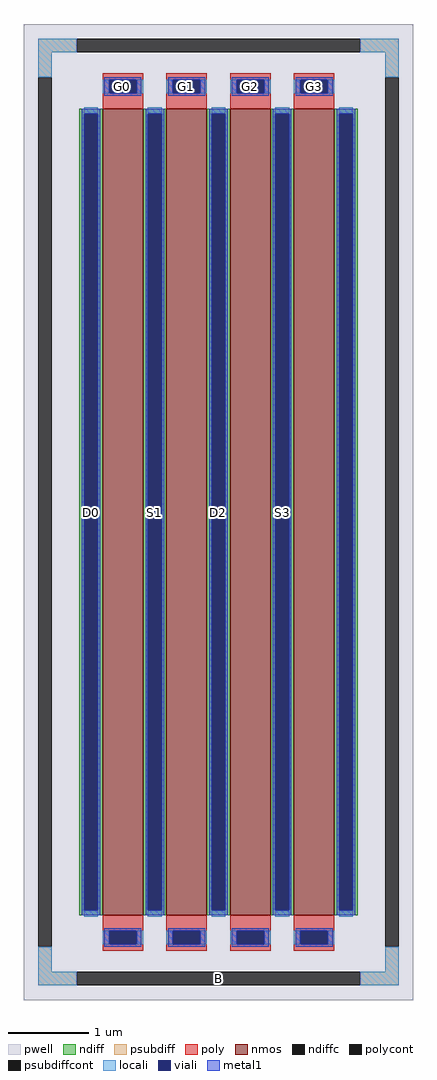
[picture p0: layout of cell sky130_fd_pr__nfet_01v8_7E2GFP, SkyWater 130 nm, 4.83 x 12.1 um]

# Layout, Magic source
magic
tech sky130A
magscale 1 2
<< pwell >>
rect -483 -1210 483 1210
<< nmos >>
rect -287 -1000 -187 1000
rect -129 -1000 -29 1000
rect 29 -1000 129 1000
rect 187 -1000 287 1000
<< ndiff >>
rect -345 988 -287 1000
rect -345 -988 -333 988
rect -299 -988 -287 988
rect -345 -1000 -287 -988
rect -187 988 -129 1000
rect -187 -988 -175 988
rect -141 -988 -129 988
rect -187 -1000 -129 -988
rect -29 988 29 1000
rect -29 -988 -17 988
rect 17 -988 29 988
rect -29 -1000 29 -988
rect 129 988 187 1000
rect 129 -988 141 988
rect 175 -988 187 988
rect 129 -1000 187 -988
rect 287 988 345 1000
rect 287 -988 299 988
rect 333 -988 345 988
rect 287 -1000 345 -988
<< ndiffc >>
rect -333 -988 -299 988
rect -175 -988 -141 988
rect -17 -988 17 988
rect 141 -988 175 988
rect 299 -988 333 988
<< psubdiff >>
rect -447 1140 -351 1174
rect 351 1140 447 1174
rect -447 1078 -413 1140
rect 413 1078 447 1140
rect -447 -1140 -413 -1078
rect 413 -1140 447 -1078
rect -447 -1174 -351 -1140
rect 351 -1174 447 -1140
<< psubdiffcont >>
rect -351 1140 351 1174
rect -447 -1078 -413 1078
rect 413 -1078 447 1078
rect -351 -1174 351 -1140
<< poly >>
rect -287 1072 -187 1088
rect -287 1038 -271 1072
rect -203 1038 -187 1072
rect -287 1000 -187 1038
rect -129 1072 -29 1088
rect -129 1038 -113 1072
rect -45 1038 -29 1072
rect -129 1000 -29 1038
rect 29 1072 129 1088
rect 29 1038 45 1072
rect 113 1038 129 1072
rect 29 1000 129 1038
rect 187 1072 287 1088
rect 187 1038 203 1072
rect 271 1038 287 1072
rect 187 1000 287 1038
rect -287 -1038 -187 -1000
rect -287 -1072 -271 -1038
rect -203 -1072 -187 -1038
rect -287 -1088 -187 -1072
rect -129 -1038 -29 -1000
rect -129 -1072 -113 -1038
rect -45 -1072 -29 -1038
rect -129 -1088 -29 -1072
rect 29 -1038 129 -1000
rect 29 -1072 45 -1038
rect 113 -1072 129 -1038
rect 29 -1088 129 -1072
rect 187 -1038 287 -1000
rect 187 -1072 203 -1038
rect 271 -1072 287 -1038
rect 187 -1088 287 -1072
<< polycont >>
rect -271 1038 -203 1072
rect -113 1038 -45 1072
rect 45 1038 113 1072
rect 203 1038 271 1072
rect -271 -1072 -203 -1038
rect -113 -1072 -45 -1038
rect 45 -1072 113 -1038
rect 203 -1072 271 -1038
<< locali >>
rect -447 1140 -351 1174
rect 351 1140 447 1174
rect -447 1078 -413 1140
rect 413 1078 447 1140
rect -287 1038 -271 1072
rect -203 1038 -187 1072
rect -129 1038 -113 1072
rect -45 1038 -29 1072
rect 29 1038 45 1072
rect 113 1038 129 1072
rect 187 1038 203 1072
rect 271 1038 287 1072
rect -333 988 -299 1004
rect -333 -1004 -299 -988
rect -175 988 -141 1004
rect -175 -1004 -141 -988
rect -17 988 17 1004
rect -17 -1004 17 -988
rect 141 988 175 1004
rect 141 -1004 175 -988
rect 299 988 333 1004
rect 299 -1004 333 -988
rect -287 -1072 -271 -1038
rect -203 -1072 -187 -1038
rect -129 -1072 -113 -1038
rect -45 -1072 -29 -1038
rect 29 -1072 45 -1038
rect 113 -1072 129 -1038
rect 187 -1072 203 -1038
rect 271 -1072 287 -1038
rect -447 -1140 -413 -1078
rect 413 -1140 447 -1078
rect -447 -1174 -351 -1140
rect 351 -1174 447 -1140
<< viali >>
rect -271 1038 -203 1072
rect -113 1038 -45 1072
rect 45 1038 113 1072
rect 203 1038 271 1072
rect -333 -988 -299 988
rect -175 -988 -141 988
rect -17 -988 17 988
rect 141 -988 175 988
rect 299 -988 333 988
rect -271 -1072 -203 -1038
rect -113 -1072 -45 -1038
rect 45 -1072 113 -1038
rect 203 -1072 271 -1038
<< metal1 >>
rect -283 1072 -191 1078
rect -283 1038 -271 1072
rect -203 1038 -191 1072
rect -283 1032 -191 1038
rect -125 1072 -33 1078
rect -125 1038 -113 1072
rect -45 1038 -33 1072
rect -125 1032 -33 1038
rect 33 1072 125 1078
rect 33 1038 45 1072
rect 113 1038 125 1072
rect 33 1032 125 1038
rect 191 1072 283 1078
rect 191 1038 203 1072
rect 271 1038 283 1072
rect 191 1032 283 1038
rect -339 988 -293 1000
rect -339 -988 -333 988
rect -299 -988 -293 988
rect -339 -1000 -293 -988
rect -181 988 -135 1000
rect -181 -988 -175 988
rect -141 -988 -135 988
rect -181 -1000 -135 -988
rect -23 988 23 1000
rect -23 -988 -17 988
rect 17 -988 23 988
rect -23 -1000 23 -988
rect 135 988 181 1000
rect 135 -988 141 988
rect 175 -988 181 988
rect 135 -1000 181 -988
rect 293 988 339 1000
rect 293 -988 299 988
rect 333 -988 339 988
rect 293 -1000 339 -988
rect -283 -1038 -191 -1032
rect -283 -1072 -271 -1038
rect -203 -1072 -191 -1038
rect -283 -1078 -191 -1072
rect -125 -1038 -33 -1032
rect -125 -1072 -113 -1038
rect -45 -1072 -33 -1038
rect -125 -1078 -33 -1072
rect 33 -1038 125 -1032
rect 33 -1072 45 -1038
rect 113 -1072 125 -1038
rect 33 -1078 125 -1072
rect 191 -1038 283 -1032
rect 191 -1072 203 -1038
rect 271 -1072 283 -1038
rect 191 -1078 283 -1072
<< labels >>
rlabel psubdiffcont 0 -1157 0 -1157 0 B
port 1 nsew
rlabel ndiffc -316 0 -316 0 0 D0
port 2 nsew
rlabel polycont -237 1055 -237 1055 0 G0
port 3 nsew
rlabel ndiffc -158 0 -158 0 0 S1
port 4 nsew
rlabel polycont -79 1055 -79 1055 0 G1
port 5 nsew
rlabel ndiffc 0 0 0 0 0 D2
port 6 nsew
rlabel polycont 79 1055 79 1055 0 G2
port 7 nsew
rlabel ndiffc 158 0 158 0 0 S3
port 8 nsew
rlabel polycont 237 1055 237 1055 0 G3
port 9 nsew
<< properties >>
string FIXED_BBOX -430 -1157 430 1157
string gencell sky130_fd_pr__nfet_01v8
string library sky130
string parameters w 10.0 l 0.5 m 1 nf 4 diffcov 100 polycov 100 guard 1 glc 1 grc 1 gtc 1 gbc 1 tbcov 100 rlcov 100 topc 1 botc 1 poverlap 0 doverlap 1 lmin 0.15 wmin 0.42 class mosfet compatible {sky130_fd_pr__nfet_01v8 sky130_fd_pr__nfet_01v8_lvt  sky130_fd_bs_flash__special_sonosfet_star  sky130_fd_pr__nfet_g5v0d10v5 sky130_fd_pr__nfet_05v0_nvt  sky130_fd_pr__nfet_03v3_nvt} full_metal 1 conn_gates 0 viasrc 100 viadrn 100 viagate 100 viagb 0 viagr 0 viagl 0 viagt 0 doports 1
<< end >>
